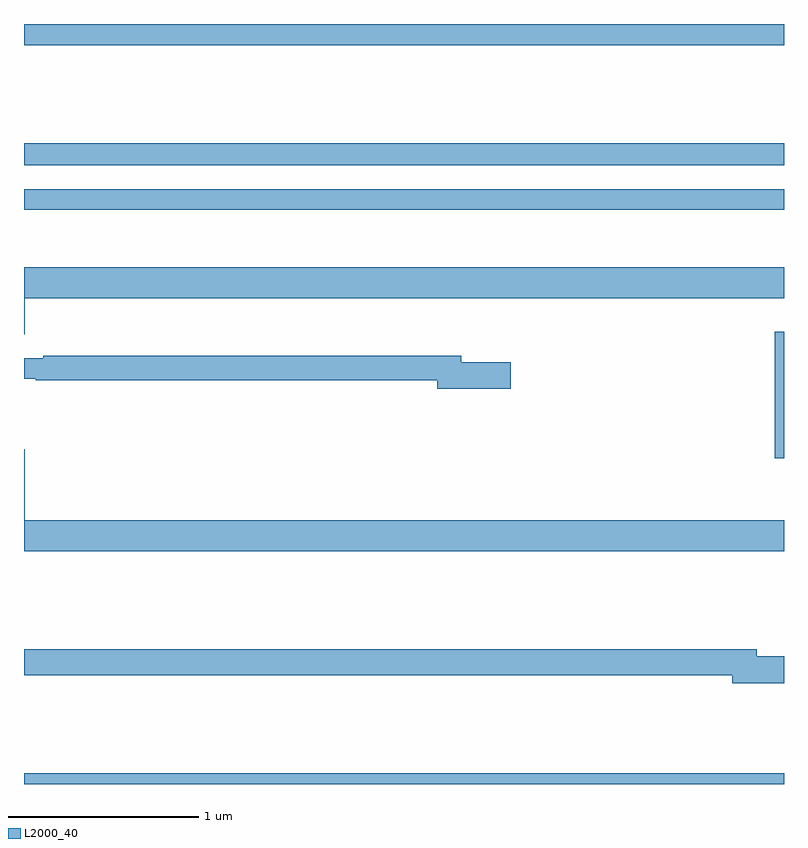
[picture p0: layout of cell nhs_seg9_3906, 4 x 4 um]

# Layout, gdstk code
import gdstk
lib = gdstk.Library(unit=1e-6, precision=1e-09)
def R(c, l, rs):  # rectangles x0, y0, x1, y1
    for r in rs: c.add(gdstk.rectangle(r[:2], r[2:], *l))
def P(c, l, *ps):  # polygons
    for p in ps: c.add(gdstk.Polygon(p, *l))
L2000_40 = (2000, 40)

nhs_seg9_3906 = lib.new_cell('nhs_seg9_3906')
R(nhs_seg9_3906, L2000_40, [(333,1224.5,337,1224.556), (336.95,1226.214,337,1226.881), (333,1227.522,337,1227.63), (333,1227.756,337,1227.872), (333,1228.388,337,1228.5)])
P(nhs_seg9_3906, L2000_40, [(333.004,1227.056),(337,1227.056),(337,1227.22),(333,1227.22),(333,1226.868),(333.004,1226.868)],
  [(335.563,1226.721),(335.302,1226.721),(335.302,1226.755),(333.1,1226.755),(333.1,1226.742),(333,1226.742),(333,1226.634),(333.062,1226.634),(333.062,1226.626),(335.174,1226.626),(335.174,1226.579),(335.563,1226.579)],
  [(337,1225.888),(333.004,1225.888),(333.004,1226.263),(333,1226.263),(333,1225.724),(337,1225.724)],
  [(337,1225.172),(336.856,1225.172),(336.856,1225.208),(333,1225.208),(333,1225.072),(336.728,1225.072),(336.728,1225.03),(337,1225.03)])

lib.write_gds('nhs_seg9_3906.gds')
